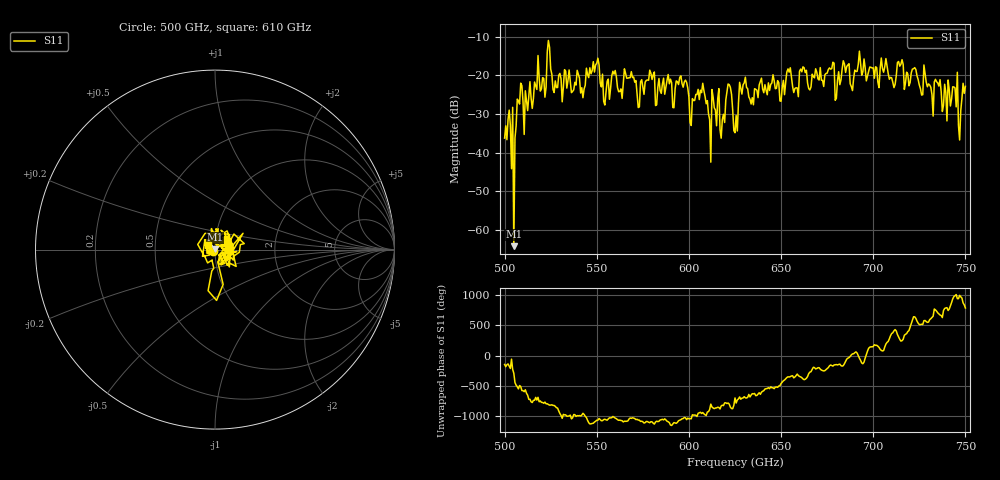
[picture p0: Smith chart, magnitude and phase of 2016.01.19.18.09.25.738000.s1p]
!Created with skrf (http://scikit-rf.org).
# GHz S RI R 50.0
!freq ReS11 ImS11
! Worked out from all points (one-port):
!   401 points, 500 GHz to 750 GHz, reference 50 ohm
!   lowest |S11| = -64.2 dB at 505 GHz (marker M1), VSWR 1.00, Z = 50 + j0.0566 ohm
!   |S11| at or under -10 dB: start of sweep to end of sweep
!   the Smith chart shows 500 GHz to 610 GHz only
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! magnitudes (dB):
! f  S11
! 500 GHz  -36.2
! 503.1 GHz  -32.9
! 505 GHz  -64.2
! 508.1 GHz  -27.4
! 521.2 GHz  -20.8
! 524.4 GHz  -12.7
! 527.5 GHz  -21.4
! 531.2 GHz  -26.8
! 542.5 GHz  -25.8
! 549.4 GHz  -17.3
! 553.8 GHz  -26.7
! 559.4 GHz  -19.7
! 562.5 GHz  -24.2
! 593.8 GHz  -21.6
! 618.1 GHz  -31.4
! 621.9 GHz  -22.4
! 625 GHz  -34.9
! 629.4 GHz  -22.5
! 656.2 GHz  -22.9
! 687.5 GHz  -22.2
! 711.2 GHz  -23.2
! 714.4 GHz  -17.6
! 718.8 GHz  -19.7
! 735 GHz  -22.0
! 738.8 GHz  -22.3
! 744.4 GHz  -23.3
! 747.5 GHz  -29.0
! 750 GHz  -22.9
